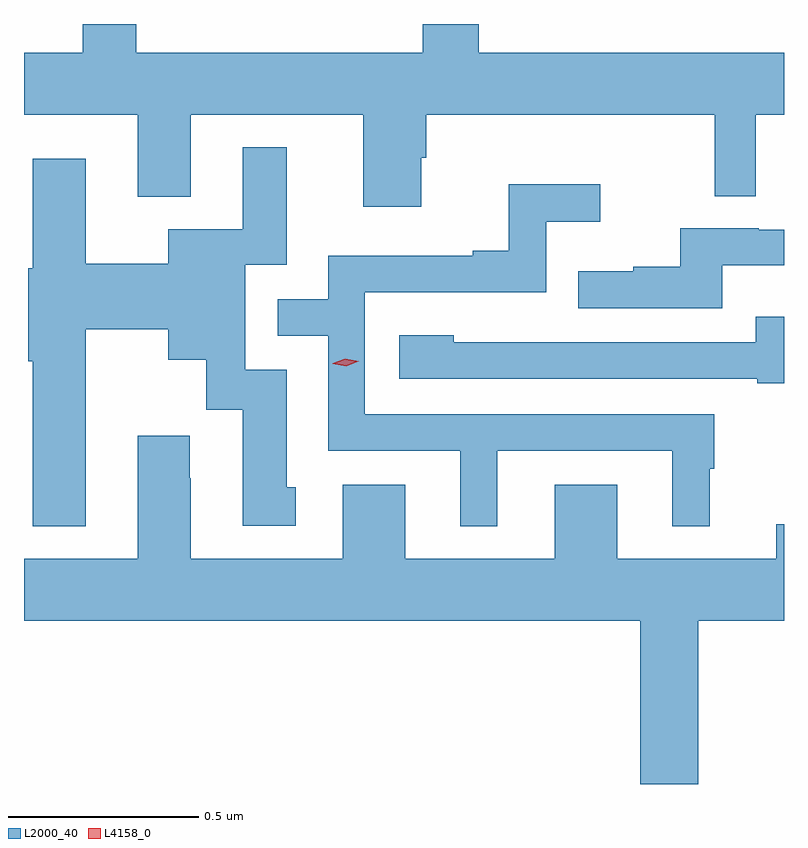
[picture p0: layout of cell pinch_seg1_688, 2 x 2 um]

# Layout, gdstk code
import gdstk
lib = gdstk.Library(unit=1e-6, precision=1e-09)
def P(c, l, *ps):  # polygons
    for p in ps: c.add(gdstk.Polygon(p, *l))
L2000_40 = (2000, 40)
L4158_0 = (4158, 0)

pinch_seg1_688 = lib.new_cell('pinch_seg1_688')
P(pinch_seg1_688, L2000_40, [(748.759,563.607),(748.772,563.607),(748.772,563.72),(749.532,563.72),(749.532,563.506),(749.64,563.506),(749.64,563.72),(749.714,563.72),(749.714,563.884),(748.911,563.884),(748.911,563.959),(748.763,563.959),(748.763,563.884),(748.009,563.884),(748.009,563.959),(747.869,563.959),(747.869,563.884),(747.714,563.884),(747.714,563.72),(748.013,563.72),(748.013,563.504),(748.153,563.504),(748.153,563.72),(748.607,563.72),(748.607,563.478),(748.759,563.478)],
  [(747.877,563.156),(748.094,563.156),(748.094,563.075),(748.193,563.075),(748.193,562.944),(748.289,562.944),(748.289,562.638),(748.429,562.638),(748.429,562.74),(748.405,562.74),(748.405,563.049),(748.296,563.049),(748.296,563.325),(748.405,563.325),(748.405,563.635),(748.289,563.635),(748.289,563.419),(748.094,563.419),(748.094,563.328),(747.877,563.328),(747.877,563.605),(747.737,563.605),(747.737,563.316),(747.725,563.316),(747.725,563.072),(747.737,563.072),(747.737,562.637),(747.877,562.637)],
  [(748.96,562.836),(749.42,562.836),(749.42,562.637),(749.518,562.637),(749.518,562.788),(749.53,562.788),(749.53,562.932),(748.611,562.932),(748.611,563.253),(749.088,563.253),(749.088,563.438),(749.23,563.438),(749.23,563.537),(748.99,563.537),(748.99,563.362),(748.895,563.362),(748.895,563.349),(748.515,563.349),(748.515,563.235),(748.382,563.235),(748.382,563.139),(748.515,563.139),(748.515,562.836),(748.862,562.836),(748.862,562.637),(748.96,562.637)],
  [(749.551,563.324),(749.714,563.324),(749.714,563.418),(749.648,563.418),(749.648,563.421),(749.441,563.421),(749.441,563.32),(749.317,563.32),(749.317,563.308),(749.173,563.308),(749.173,563.211),(749.551,563.211)],
  [(749.714,563.188),(749.639,563.188),(749.639,563.121),(749.081,563.121),(749.081,563.122),(748.845,563.122),(748.845,563.14),(748.701,563.14),(748.701,563.025),(749.643,563.025),(749.643,563.013),(749.714,563.013)],
  [(749.488,562.388),(749.714,562.388),(749.714,562.643),(749.693,562.643),(749.693,562.552),(749.275,562.552),(749.275,562.747),(749.111,562.747),(749.111,562.552),(748.717,562.552),(748.717,562.747),(748.553,562.747),(748.553,562.552),(748.153,562.552),(748.153,562.763),(748.15,562.763),(748.15,562.876),(748.013,562.876),(748.013,562.552),(747.714,562.552),(747.714,562.388),(749.336,562.388),(749.336,561.959),(749.488,561.959)])
P(pinch_seg1_688, L4158_0, [(748.562,563.058),(748.527,563.065),(748.526,563.065),(748.527,563.066),(748.56,563.078),(748.595,563.071),(748.595,563.071),(748.595,563.071)])

lib.write_gds('pinch_seg1_688.gds')
